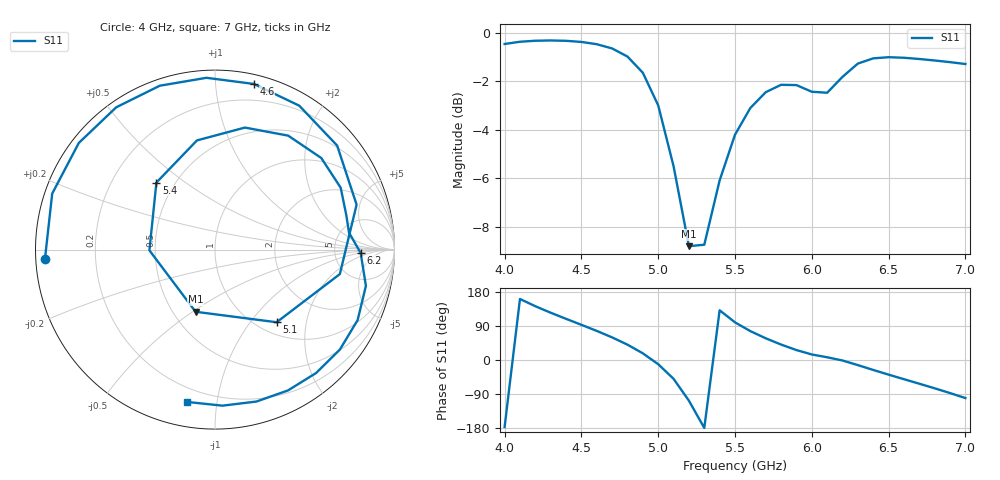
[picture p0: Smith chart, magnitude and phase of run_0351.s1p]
! Touchstone file exported from HFSS 2024.2.0
!  File:  C:/Users/wsak9/Desktop/Sim Fast/Widenad Patch/WP_AI_V1_sweep.aedt
!  Generated:  05:54:44 AM Oct 14, 2026
!  Design:  A1_model
!  Project:  WP_AI_V1_sweep
!  Setup:  Setup1
!  Solution:  Sweep
! Variables:
!  Air_gap = 3.58mm
!  Curve_Amp1 = 3.82
!  Curve_len1 = 1
!  Curve_pos = 10.17mm
!  Extra = 6.57mm
!  H_sub = 0.79mm
!  L_Patch = 16.34mm
!  L_Patch1 = 16.81mm
!  Sx = 2.67mm
!  Sy = 4.5mm
!  WS = 0.64mm
!  W_Patch = 16.27mm
!  W_Patch1 = 10.24mm
!Data is not renormalized
# GHz S MA
! Terminal data exported
! Port[1] = 1
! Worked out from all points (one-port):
!   31 points, 4 GHz to 7 GHz, reference per port
!   lowest |S11| = -8.8 dB at 5.2 GHz (marker M1), VSWR 2.14
!   |S11| at or under -10 dB: nowhere
!   S11 on the Smith chart (normalised r, x): 4 GHz: 0.03, -0.03; 4.6 GHz: 0.07, +1.26; 5.1 GHz: 1.21, -1.36; 5.4 GHz: 0.40, +0.39; 6.2 GHz: 9.51, -1.04; 7 GHz: 0.12, -0.83
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4  0.949 -176.8
4.1  0.9592 161.0
4.2  0.9638 141.9
4.3  0.9651 124.8
4.4  0.9635 108.6
4.5  0.9583 92.8
4.6  0.948 76.8
4.7  0.9291 59.6
4.8  0.894 40.4
4.9  0.8277 17.6
5  0.7088 -11.1
5.1  0.5308 -49.7
5.2  0.3629 -107.4
5.3  0.3654 -179.3
5.4  0.4961 131.2
5.5  0.6166 99.4
5.6  0.7001 76.2
5.7  0.7546 57.3
5.8  0.7817 40.8
5.9  0.7806 26.2
6  0.7562 14.6
6.2  0.8118 -1.3
6.3  0.8647 -13.5
6.4  0.8864 -26.3
6.5  0.8912 -38.6
6.7  0.8837 -62.6
6.9  0.8706 -87.3
7  0.8628 -100.4
